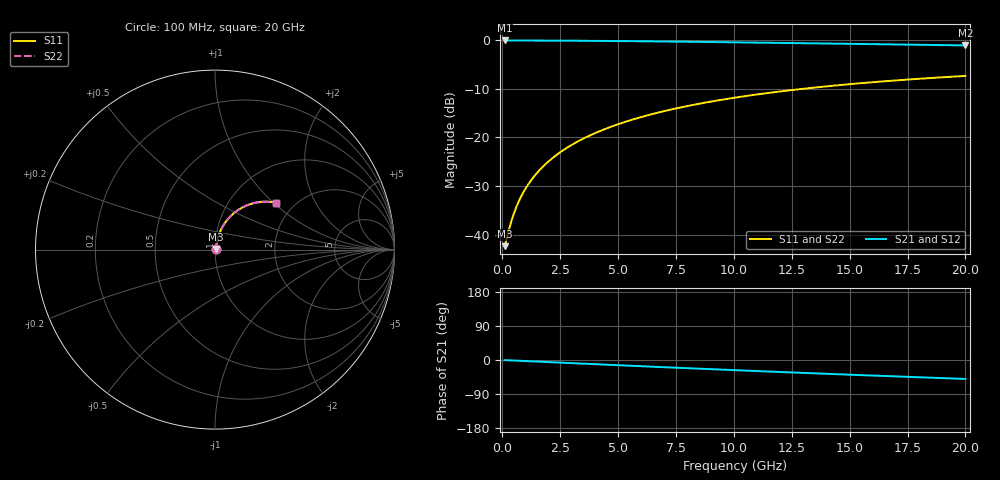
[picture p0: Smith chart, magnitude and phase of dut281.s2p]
! Touchstone file exported from HFSS 2026.1.0
!  File:  C:/ffzhzh/LocalFiles/Ansys_Project_Files/temp_train_BSMRDL_281_1782989104_42984.aedt
!  Generated:  06:46:15 PM Jul  2, 2026
!  Design:  BSMRDL
!  Project:  temp_train_BSMRDL_281_1782989104_42984
! Variables:
!  h_bsmrdl = 3.93um
!  h_ox = 20um
!  h_rdl = 5um
!  h_sub = 80um
!  h_tmrdl = 5um
!  h_tsv = 80um
!  h_via = 3um
!  l_bsmrdl = 796.72um
!  l_sub = 1196.72um
!  l_tmrdl = 200um
!  m_sub = 200um
!  pitch = 26.05um
!  r_tsv = 6um
!  s_tmrdl = 10um
!  w_bsmrdl = 10.14um
!  w_sub = 500um
!  w_tmrdl = 12um
!  x_tsv_center1 = 206um
!  x_tsv_center2 = 1012.86um
!  x_tsv_center3 = 1224.86um
!  x_tsv_center4 = 2031.72um
!  x_tsv_center5 = 2243.72um
!  x_tsv_center6 = 3050.58um
# GHz S MA R 50.000000
! Terminal data exported
! Port[1] = BSM_RDL1_1_T1
! Port[2] = BSM_RDL1_1_T2
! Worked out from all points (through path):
!   200 points, 100 MHz to 20 GHz, reference 50 ohm
!   highest |S21| = -0.06 dB at 100 MHz (marker M1); lowest = -1.1 dB at 20 GHz (marker M2)
!   group delay of S21, straight-line fit = 6.94 ps
!   lowest |S11| = -42.3 dB at 100 MHz (marker M3), VSWR 1.02, Z = 50.7 + j0.303 ohm
!   |S11| at or under -10 dB: start of sweep to 12.98 GHz
!   |S22| runs from -42.3 to -7.3 dB; largest |S21 - S12| = 2.5e-15
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0.1  0.007648 23.0  0.993 -0.3  0.993 -0.3  0.007648 23.0
! Gamma 0 0 0 0
! Port Impedance 50 0 50 0
0.4  0.01398 56.8  0.9925 -1.2  0.9925 -1.2  0.01398 56.8
0.5  0.01653 61.4  0.9923 -1.4  0.9923 -1.4  0.01653 61.4
0.6  0.01914 64.6  0.9922 -1.7  0.9922 -1.7  0.01914 64.6
0.7  0.02177 66.9  0.992 -2.0  0.992 -2.0  0.02177 66.9
0.9  0.02709 70.2  0.9917 -2.5  0.9917 -2.5  0.02709 70.2
1.2  0.03515 73.0  0.9912 -3.4  0.9912 -3.4  0.03515 73.0
1.4  0.04056 74.1  0.9909 -3.9  0.9909 -3.9  0.04056 74.1
1.7  0.04871 75.1  0.9903 -4.8  0.9903 -4.8  0.04871 75.1
2.2  0.06232 75.6  0.9892 -6.1  0.9892 -6.1  0.06232 75.6
2.8  0.07861 75.4  0.9876 -7.8  0.9876 -7.8  0.07861 75.4
3.5  0.09744 74.5  0.9854 -9.7  0.9854 -9.7  0.09744 74.5
4.2  0.116 73.2  0.9828 -11.6  0.9828 -11.6  0.116 73.2
5  0.1369 71.5  0.9793 -13.8  0.9793 -13.8  0.1369 71.5
5.9  0.1598 69.5  0.975 -16.2  0.975 -16.2  0.1598 69.4
6.8  0.182 67.3  0.9702 -18.5  0.9702 -18.5  0.182 67.3
8.3  0.2176 63.7  0.9615 -22.4  0.9615 -22.4  0.2176 63.7
10.1  0.2578 59.5  0.9501 -27.0  0.9501 -27.0  0.2578 59.4
11.7  0.2911 55.7  0.9395 -30.9  0.9395 -30.9  0.2911 55.7
13.4  0.3242 51.8  0.9278 -35.0  0.9278 -35.0  0.3242 51.8
16.7  0.3812 44.5  0.905 -42.7  0.905 -42.7  0.3812 44.4
20  0.4291 37.4  0.8831 -50.0  0.8831 -50.0  0.4291 37.4
